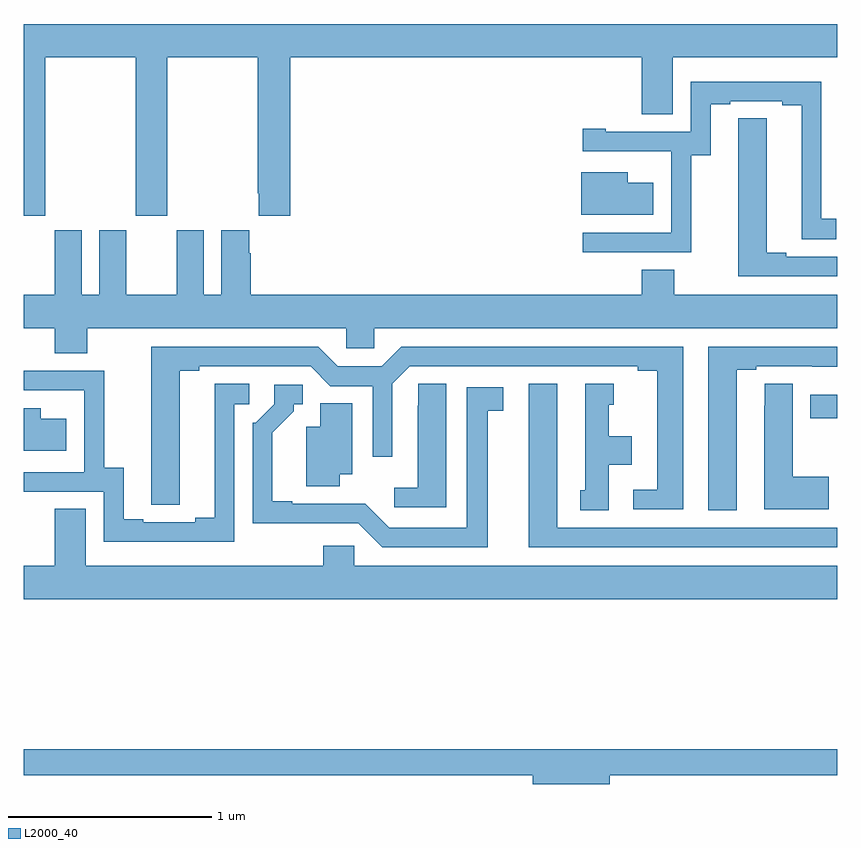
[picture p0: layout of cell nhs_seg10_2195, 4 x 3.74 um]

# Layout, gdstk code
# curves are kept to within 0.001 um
import gdstk
lib = gdstk.Library(unit=1e-6, precision=1e-09)
def R(c, l, rs):  # rectangles x0, y0, x1, y1
    for r in rs: c.add(gdstk.rectangle(r[:2], r[2:], *l))
def P(c, l, *ps):  # polygons
    for p in ps: c.add(gdstk.Polygon(p, *l))
L2000_40 = (2000, 40)

nhs_seg10_2195 = lib.new_cell('nhs_seg10_2195')
R(nhs_seg10_2195, L2000_40, [(230.867,1306.534,231,1306.65)])
P(nhs_seg10_2195, L2000_40, [(227.106,1308.308),(227.551,1308.308),(227.551,1307.529),(227.706,1307.529),(227.706,1308.308),(228.151,1308.308),(228.151,1307.641),(228.155,1307.641),(228.155,1307.529),(228.311,1307.529),(228.311,1308.308),(230.039,1308.308),(230.039,1308.028),(230.191,1308.028),(230.191,1308.308),(231,1308.308),(231,1308.472),(227,1308.472),(227,1307.529),(227.106,1307.529)],
  [(230.283,1307.827),(230.377,1307.827),(230.377,1308.078),(230.473,1308.078),(230.473,1308.093),(230.729,1308.093),(230.729,1308.073),(230.825,1308.073),(230.825,1307.413),(230.995,1307.413),(230.995,1307.514),(230.922,1307.514),(230.922,1308.189),(230.28,1308.189),(230.28,1307.943),(229.861,1307.943),(229.861,1307.956),(229.749,1307.956),(229.749,1307.847),(230.183,1307.847),(230.183,1307.846),(230.184,1307.846),(230.184,1307.445),(229.749,1307.445),(229.749,1307.349),(230.283,1307.349)],
  [(231,1307.328),(230.749,1307.328),(230.749,1307.348),(230.653,1307.348),(230.653,1308.008),(230.514,1308.008),(230.514,1307.9),(230.513,1307.9),(230.513,1307.232),(231,1307.232)],
  [(230.095,1307.692),(229.969,1307.692),(229.969,1307.743),(229.742,1307.743),(229.742,1307.534),(230.095,1307.534)],
  [(227.313,1306.976),(228.585,1306.976),(228.585,1306.878),(228.723,1306.878),(228.723,1306.976),(231,1306.976),(231,1307.14),(230.199,1307.14),(230.199,1307.264),(230.039,1307.264),(230.039,1307.14),(228.116,1307.14),(228.116,1307.345),(228.109,1307.345),(228.109,1307.458),(227.972,1307.458),(227.972,1307.14),(227.884,1307.14),(227.884,1307.458),(227.753,1307.458),(227.753,1307.14),(227.503,1307.14),(227.503,1307.458),(227.372,1307.458),(227.372,1307.14),(227.284,1307.14),(227.284,1307.458),(227.153,1307.458),(227.153,1307.14),(227,1307.14),(227,1306.976),(227.153,1306.976),(227.153,1306.852),(227.313,1306.852)],
  [(230.506,1306.773),(230.602,1306.773),(230.602,1306.788),(230.878,1306.788),(230.878,1306.787),(231,1306.787),(231,1306.884),(230.366,1306.884),(230.366,1306.081),(230.506,1306.081)],
  [(230.242,1306.884),(228.857,1306.884),(228.761,1306.788),(228.543,1306.788),(228.447,1306.884),(227.627,1306.884),(227.628,1306.108),(227.767,1306.108),(227.767,1306.768),(227.863,1306.768),(227.863,1306.788),(228.411,1306.788),(228.507,1306.692),(228.717,1306.692),(228.717,1306.344),(228.813,1306.344),(228.813,1306.704),(228.897,1306.788),(230.018,1306.788),(230.018,1306.768),(230.114,1306.768),(230.114,1306.182),(229.998,1306.182),(229.998,1306.086),(230.242,1306.086)],
  [(228.036,1306.602),(228.109,1306.602),(228.109,1306.703),(227.939,1306.703),(227.939,1306.043),(227.843,1306.043),(227.843,1306.023),(227.587,1306.023),(227.587,1306.038),(227.491,1306.038),(227.491,1306.289),(227.397,1306.289),(227.397,1306.767),(227,1306.767),(227,1306.671),(227.297,1306.671),(227.297,1306.67),(227.298,1306.67),(227.298,1306.269),(227,1306.269),(227,1306.173),(227.394,1306.173),(227.394,1305.927),(228.036,1305.927)],
  [(230.959,1306.245),(230.782,1306.245),(230.782,1306.703),(230.643,1306.703),(230.643,1306.595),(230.642,1306.595),(230.642,1306.085),(230.959,1306.085)],
  [(229.078,1306.703),(228.939,1306.703),(228.939,1306.595),(228.938,1306.595),(228.938,1306.192),(228.822,1306.192),(228.822,1306.095),(229.078,1306.095)],
  [(229.876,1306.304),(229.99,1306.304),(229.99,1306.444),(229.876,1306.444),(229.876,1306.599),(229.9,1306.599),(229.9,1306.702),(229.76,1306.702),(229.76,1306.179),(229.736,1306.179),(229.736,1306.081),(229.876,1306.081)],
  [(231,1305.996),(229.624,1305.996),(229.624,1306.702),(229.484,1306.702),(229.484,1305.9),(231,1305.9)],
  [(229.282,1306.57),(229.357,1306.57),(229.357,1306.686),(229.178,1306.686),(229.178,1305.996),(228.798,1305.996),(228.68,1306.114),(228.319,1306.113),(228.319,1306.126),(228.223,1306.126),(228.223,1306.462),(228.328,1306.567),(228.328,1306.602),(228.373,1306.602),(228.373,1306.698),(228.231,1306.698),(228.231,1306.602),(228.141,1306.512),(228.126,1306.512),(228.126,1306.016),(228.645,1306.017),(228.762,1305.9),(229.282,1305.9)],
  [(228.553,1306.259),(228.616,1306.259),(228.616,1306.607),(228.458,1306.607),(228.458,1306.492),(228.389,1306.492),(228.389,1306.198),(228.553,1306.198)],
  [(227.209,1306.531),(227.083,1306.531),(227.083,1306.582),(227,1306.582),(227,1306.373),(227.209,1306.373)],
  [(231,1305.808),(228.624,1305.808),(228.624,1305.906),(228.473,1305.906),(228.473,1305.808),(227.305,1305.808),(227.305,1306.088),(227.153,1306.088),(227.153,1305.808),(227,1305.808),(227,1305.644),(231,1305.644)],
  [(229.882,1304.778),(231,1304.778),(231,1304.906),(227,1304.906),(227,1304.778),(229.502,1304.778),(229.502,1304.735),(229.882,1304.735)])

lib.write_gds('nhs_seg10_2195.gds')
